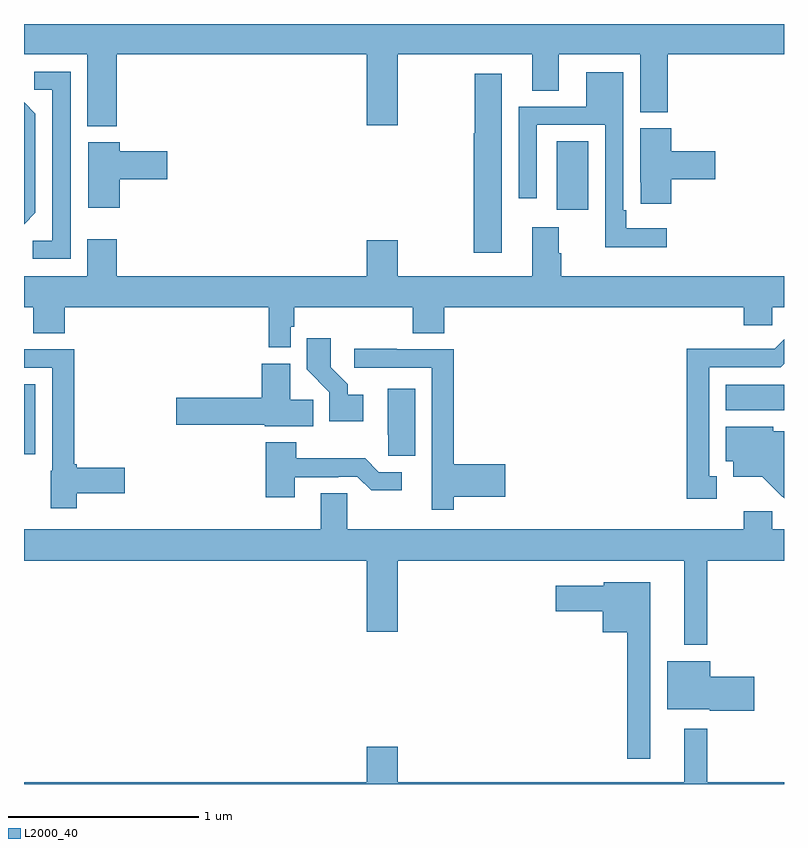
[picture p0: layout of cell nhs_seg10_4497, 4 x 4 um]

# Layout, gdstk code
import gdstk
lib = gdstk.Library(unit=1e-6, precision=1e-09)
def R(c, l, rs):  # rectangles x0, y0, x1, y1
    for r in rs: c.add(gdstk.rectangle(r[:2], r[2:], *l))
def P(c, l, *ps):  # polygons
    for p in ps: c.add(gdstk.Polygon(p, *l))
L2000_40 = (2000, 40)

nhs_seg10_4497 = lib.new_cell('nhs_seg10_4497')
R(nhs_seg10_4497, L2000_40, [(367,1274.235,367.06,1274.605), (370.694,1274.468,371,1274.602), (369.803,1275.522,369.97,1275.884)])
P(nhs_seg10_4497, L2000_40, [(367.487,1276.34),(368.804,1276.34),(368.804,1275.966),(368.968,1275.966),(368.968,1276.34),(369.674,1276.34),(369.674,1276.15),(369.814,1276.15),(369.814,1276.34),(370.244,1276.34),(370.244,1276.036),(370.388,1276.036),(370.388,1276.34),(371,1276.34),(371,1276.5),(367,1276.5),(367,1276.34),(367.334,1276.34),(367.334,1275.962),(367.487,1275.962)],
  [(367.245,1276.248),(367.054,1276.248),(367.054,1276.153),(367.149,1276.153),(367.149,1275.36),(367.047,1275.36),(367.047,1275.264),(367.245,1275.264)],
  [(370.384,1275.424),(370.171,1275.424),(370.171,1275.52),(370.155,1275.52),(370.155,1276.246),(369.959,1276.246),(369.959,1276.065),(369.603,1276.065),(369.603,1275.582),(369.699,1275.582),(369.699,1275.969),(370.059,1275.969),(370.059,1275.326),(370.384,1275.326)],
  [(369.514,1276.237),(369.373,1276.237),(369.373,1275.924),(369.368,1275.924),(369.368,1275.297),(369.514,1275.297)],
  [(367.059,1275.506),(367.059,1276.028),(367,1276.087),(367,1275.446)],
  [(370.406,1275.683),(370.639,1275.683),(370.639,1275.83),(370.406,1275.83),(370.406,1275.951),(370.244,1275.951),(370.244,1275.667),(370.245,1275.667),(370.245,1275.555),(370.406,1275.555)],
  [(367.504,1275.683),(367.753,1275.683),(367.753,1275.83),(367.504,1275.83),(367.504,1275.877),(367.337,1275.877),(367.337,1275.534),(367.504,1275.534)],
  [(369.047,1274.872),(369.212,1274.872),(369.212,1275.008),(370.787,1275.008),(370.787,1274.915),(370.938,1274.915),(370.938,1275.008),(371,1275.008),(371,1275.172),(369.827,1275.172),(369.827,1275.293),(369.814,1275.293),(369.814,1275.43),(369.674,1275.43),(369.674,1275.172),(368.968,1275.172),(368.968,1275.361),(368.804,1275.361),(368.804,1275.172),(367.487,1275.172),(367.487,1275.367),(367.334,1275.367),(367.334,1275.172),(367,1275.172),(367,1275.008),(367.049,1275.008),(367.049,1274.872),(367.214,1274.872),(367.214,1275.008),(368.287,1275.008),(368.287,1274.798),(368.403,1274.798),(368.403,1274.907),(368.423,1274.907),(368.423,1275.008),(369.047,1275.008)],
  [(368.785,1274.548),(368.704,1274.548),(368.704,1274.603),(368.614,1274.693),(368.614,1274.845),(368.488,1274.845),(368.488,1274.682),(368.607,1274.563),(368.607,1274.408),(368.785,1274.408)],
  [(370.645,1274.121),(370.606,1274.121),(370.606,1274.694),(370.983,1274.694),(371,1274.711),(371,1274.84),(370.95,1274.79),(370.728,1274.79),(370.728,1274.792),(370.488,1274.792),(370.488,1274.001),(370.645,1274.001)],
  [(369.263,1274.012),(369.532,1274.012),(369.532,1274.183),(369.263,1274.183),(369.263,1274.787),(368.963,1274.787),(368.963,1274.79),(368.739,1274.79),(368.739,1274.691),(369.147,1274.691),(369.147,1274.166),(369.146,1274.166),(369.146,1273.944),(369.263,1273.944)],
  [(367.278,1274.03),(367.531,1274.03),(367.531,1274.165),(367.278,1274.165),(367.278,1274.183),(367.265,1274.183),(367.265,1274.787),(367,1274.787),(367,1274.691),(367.149,1274.691),(367.149,1274.148),(367.142,1274.148),(367.142,1273.952),(367.278,1273.952)],
  [(368.522,1274.522),(368.401,1274.522),(368.401,1274.713),(368.252,1274.713),(368.252,1274.532),(367.8,1274.532),(367.8,1274.39),(368.268,1274.39),(368.268,1274.384),(368.522,1274.384)],
  [(369.058,1274.581),(368.915,1274.581),(368.915,1274.338),(368.916,1274.338),(368.916,1274.227),(369.058,1274.227)],
  [(371,1274.356),(370.944,1274.356),(370.944,1274.38),(370.694,1274.38),(370.694,1274.198),(370.733,1274.198),(370.733,1274.117),(370.885,1274.117),(370.988,1274.015),(371,1274.003)],
  [(368.425,1274.115),(368.654,1274.115),(368.654,1274.118),(368.754,1274.118),(368.827,1274.045),(368.989,1274.045),(368.989,1274.142),(368.868,1274.142),(368.795,1274.215),(368.433,1274.215),(368.433,1274.299),(368.273,1274.299),(368.273,1274.01),(368.425,1274.01)],
  [(370.597,1273.676),(371,1273.676),(371,1273.84),(370.938,1273.84),(370.938,1273.936),(370.787,1273.936),(370.787,1273.84),(368.7,1273.84),(368.7,1274.03),(368.561,1274.03),(368.561,1273.84),(367,1273.84),(367,1273.676),(368.804,1273.676),(368.804,1273.302),(368.968,1273.302),(368.968,1273.676),(370.475,1273.676),(370.475,1273.232),(370.597,1273.232)],
  [(370.297,1273.561),(370.05,1273.561),(370.05,1273.543),(369.798,1273.543),(369.798,1273.409),(370.046,1273.409),(370.046,1273.298),(370.176,1273.298),(370.176,1272.633),(370.297,1272.633)],
  [(370.843,1273.064),(370.612,1273.064),(370.612,1273.147),(370.385,1273.147),(370.385,1272.893),(370.608,1272.893),(370.608,1272.886),(370.843,1272.886)],
  [(371,1272.508),(370.597,1272.508),(370.597,1272.79),(370.475,1272.79),(370.475,1272.508),(368.968,1272.508),(368.968,1272.697),(368.804,1272.697),(368.804,1272.508),(367,1272.508),(367,1272.5),(371,1272.5)])

lib.write_gds('nhs_seg10_4497.gds')
